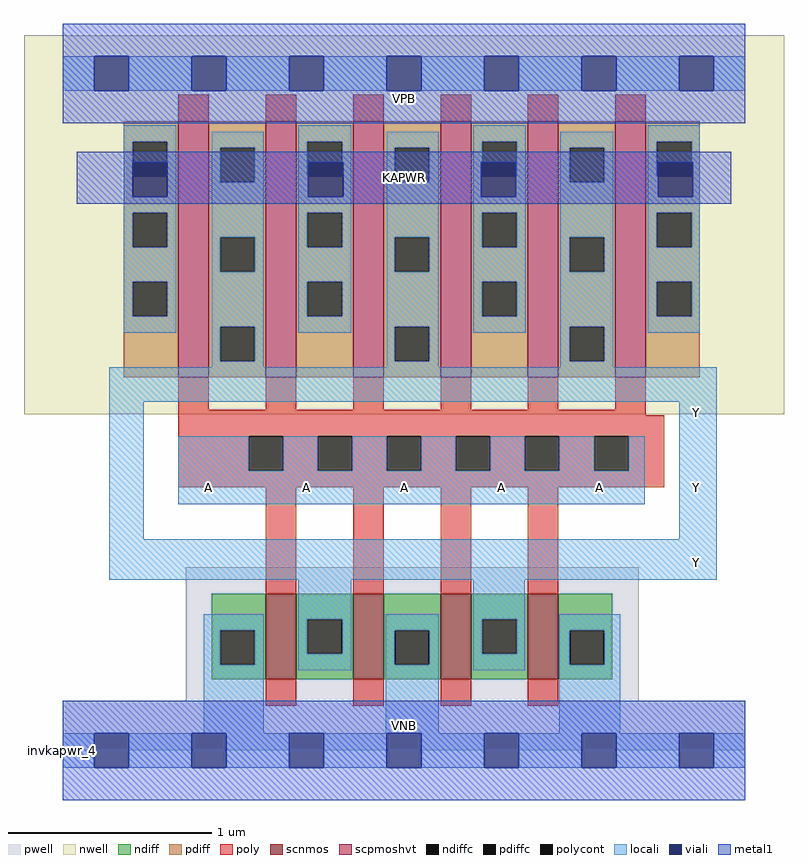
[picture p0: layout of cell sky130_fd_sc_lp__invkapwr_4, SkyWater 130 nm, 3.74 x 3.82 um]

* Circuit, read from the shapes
.subckt sky130_fd_sc_lp__invkapwr_4 A KAPWR VGND VNB VPB VPWR Y
XM1 Y A VGND VNB sky130_fd_pr__nfet_01v8 w=0.42 l=0.15 m=4
XM2 Y A KAPWR VPB sky130_fd_pr__pfet_01v8_hvt w=1.26 l=0.15 m=6
.ends

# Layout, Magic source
magic
tech sky130A
magscale 1 2
<< nwell >>
rect -38 331 710 704
<< pwell >>
rect 121 49 567 180
rect 0 0 672 49
<< scnmos >>
rect 200 70 230 154
rect 286 70 316 154
rect 372 70 402 154
rect 458 70 488 154
<< scpmoshvt >>
rect 114 367 144 619
rect 200 367 230 619
rect 286 367 316 619
rect 372 367 402 619
rect 458 367 488 619
rect 544 367 574 619
<< ndiff >>
rect 147 118 200 154
rect 147 84 155 118
rect 189 84 200 118
rect 147 70 200 84
rect 230 129 286 154
rect 230 95 241 129
rect 275 95 286 129
rect 230 70 286 95
rect 316 118 372 154
rect 316 84 327 118
rect 361 84 372 118
rect 316 70 372 84
rect 402 129 458 154
rect 402 95 413 129
rect 447 95 458 129
rect 402 70 458 95
rect 488 118 541 154
rect 488 84 499 118
rect 533 84 541 118
rect 488 70 541 84
<< pdiff >>
rect 60 599 114 619
rect 60 565 69 599
rect 103 565 114 599
rect 60 529 114 565
rect 60 495 69 529
rect 103 495 114 529
rect 60 461 114 495
rect 60 427 69 461
rect 103 427 114 461
rect 60 367 114 427
rect 144 593 200 619
rect 144 559 155 593
rect 189 559 200 593
rect 144 505 200 559
rect 144 471 155 505
rect 189 471 200 505
rect 144 417 200 471
rect 144 383 155 417
rect 189 383 200 417
rect 144 367 200 383
rect 230 599 286 619
rect 230 565 241 599
rect 275 565 286 599
rect 230 529 286 565
rect 230 495 241 529
rect 275 495 286 529
rect 230 461 286 495
rect 230 427 241 461
rect 275 427 286 461
rect 230 367 286 427
rect 316 593 372 619
rect 316 559 327 593
rect 361 559 372 593
rect 316 505 372 559
rect 316 471 327 505
rect 361 471 372 505
rect 316 417 372 471
rect 316 383 327 417
rect 361 383 372 417
rect 316 367 372 383
rect 402 599 458 619
rect 402 565 413 599
rect 447 565 458 599
rect 402 529 458 565
rect 402 495 413 529
rect 447 495 458 529
rect 402 461 458 495
rect 402 427 413 461
rect 447 427 458 461
rect 402 367 458 427
rect 488 593 544 619
rect 488 559 499 593
rect 533 559 544 593
rect 488 505 544 559
rect 488 471 499 505
rect 533 471 544 505
rect 488 417 544 471
rect 488 383 499 417
rect 533 383 544 417
rect 488 367 544 383
rect 574 599 627 619
rect 574 565 585 599
rect 619 565 627 599
rect 574 529 627 565
rect 574 495 585 529
rect 619 495 627 529
rect 574 461 627 495
rect 574 427 585 461
rect 619 427 627 461
rect 574 367 627 427
<< ndiffc >>
rect 155 84 189 118
rect 241 95 275 129
rect 327 84 361 118
rect 413 95 447 129
rect 499 84 533 118
<< pdiffc >>
rect 69 565 103 599
rect 69 495 103 529
rect 69 427 103 461
rect 155 559 189 593
rect 155 471 189 505
rect 155 383 189 417
rect 241 565 275 599
rect 241 495 275 529
rect 241 427 275 461
rect 327 559 361 593
rect 327 471 361 505
rect 327 383 361 417
rect 413 565 447 599
rect 413 495 447 529
rect 413 427 447 461
rect 499 559 533 593
rect 499 471 533 505
rect 499 383 533 417
rect 585 565 619 599
rect 585 495 619 529
rect 585 427 619 461
<< poly >>
rect 114 619 144 645
rect 200 619 230 645
rect 286 619 316 645
rect 372 619 402 645
rect 458 619 488 645
rect 544 619 574 645
rect 114 335 144 367
rect 200 335 230 367
rect 286 335 316 367
rect 372 335 402 367
rect 458 335 488 367
rect 544 335 574 367
rect 114 330 574 335
rect 114 309 592 330
rect 114 275 183 309
rect 217 275 251 309
rect 285 275 319 309
rect 353 275 387 309
rect 421 275 455 309
rect 489 275 523 309
rect 557 275 592 309
rect 114 259 592 275
rect 200 154 230 259
rect 286 154 316 259
rect 372 154 402 259
rect 458 154 488 259
rect 200 44 230 70
rect 286 44 316 70
rect 372 44 402 70
rect 458 44 488 70
<< polycont >>
rect 183 275 217 309
rect 251 275 285 309
rect 319 275 353 309
rect 387 275 421 309
rect 455 275 489 309
rect 523 275 557 309
<< locali >>
rect 0 649 31 683
rect 65 649 127 683
rect 161 649 223 683
rect 257 649 319 683
rect 353 649 415 683
rect 449 649 511 683
rect 545 649 607 683
rect 641 649 672 683
rect 60 599 112 615
rect 60 545 69 599
rect 103 545 112 599
rect 60 529 112 545
rect 60 495 69 529
rect 103 495 112 529
rect 60 461 112 495
rect 60 427 69 461
rect 103 427 112 461
rect 60 411 112 427
rect 147 593 198 609
rect 147 559 155 593
rect 189 559 198 593
rect 147 505 198 559
rect 147 471 155 505
rect 189 471 198 505
rect 147 417 198 471
rect 147 383 155 417
rect 189 383 198 417
rect 232 599 284 615
rect 232 565 241 599
rect 275 579 284 599
rect 232 545 242 565
rect 276 545 284 579
rect 232 529 284 545
rect 232 495 241 529
rect 275 495 284 529
rect 232 461 284 495
rect 232 427 241 461
rect 275 427 284 461
rect 232 411 284 427
rect 319 593 370 609
rect 319 559 327 593
rect 361 559 370 593
rect 319 505 370 559
rect 319 471 327 505
rect 361 471 370 505
rect 319 417 370 471
rect 147 377 198 383
rect 319 383 327 417
rect 361 383 370 417
rect 404 599 456 615
rect 404 579 413 599
rect 404 545 412 579
rect 447 565 456 599
rect 446 545 456 565
rect 404 529 456 545
rect 404 495 413 529
rect 447 495 456 529
rect 404 461 456 495
rect 404 427 413 461
rect 447 427 456 461
rect 404 411 456 427
rect 490 593 542 609
rect 490 559 499 593
rect 533 559 542 593
rect 490 505 542 559
rect 490 471 499 505
rect 533 471 542 505
rect 490 417 542 471
rect 319 377 370 383
rect 490 383 499 417
rect 533 383 542 417
rect 576 599 627 615
rect 576 565 585 599
rect 619 579 627 599
rect 576 545 586 565
rect 620 545 627 579
rect 576 529 627 545
rect 576 495 585 529
rect 619 495 627 529
rect 576 461 627 495
rect 576 427 585 461
rect 619 427 627 461
rect 576 411 627 427
rect 490 377 542 383
rect 46 343 644 377
rect 46 208 80 343
rect 114 275 183 309
rect 217 275 251 309
rect 285 275 319 309
rect 353 275 387 309
rect 421 275 455 309
rect 489 275 523 309
rect 557 275 573 309
rect 114 242 573 275
rect 607 208 644 343
rect 46 168 644 208
rect 139 118 198 134
rect 139 84 155 118
rect 189 84 198 118
rect 139 17 198 84
rect 232 129 284 168
rect 232 95 241 129
rect 275 95 284 129
rect 232 79 284 95
rect 318 118 370 134
rect 318 84 327 118
rect 361 84 370 118
rect 318 17 370 84
rect 404 129 455 168
rect 404 95 413 129
rect 447 95 455 129
rect 404 79 455 95
rect 489 118 549 134
rect 489 84 499 118
rect 533 84 549 118
rect 489 17 549 84
rect 0 -17 31 17
rect 65 -17 127 17
rect 161 -17 223 17
rect 257 -17 319 17
rect 353 -17 415 17
rect 449 -17 511 17
rect 545 -17 607 17
rect 641 -17 672 17
<< viali >>
rect 31 649 65 683
rect 127 649 161 683
rect 223 649 257 683
rect 319 649 353 683
rect 415 649 449 683
rect 511 649 545 683
rect 607 649 641 683
rect 69 565 103 579
rect 69 545 103 565
rect 242 565 275 579
rect 275 565 276 579
rect 242 545 276 565
rect 412 565 413 579
rect 413 565 446 579
rect 412 545 446 565
rect 586 565 619 579
rect 619 565 620 579
rect 586 545 620 565
rect 31 -17 65 17
rect 127 -17 161 17
rect 223 -17 257 17
rect 319 -17 353 17
rect 415 -17 449 17
rect 511 -17 545 17
rect 607 -17 641 17
<< metal1 >>
rect 0 683 672 715
rect 0 649 31 683
rect 65 649 127 683
rect 161 649 223 683
rect 257 649 319 683
rect 353 649 415 683
rect 449 649 511 683
rect 545 649 607 683
rect 641 649 672 683
rect 0 617 672 649
rect 14 579 658 589
rect 14 545 69 579
rect 103 545 242 579
rect 276 545 412 579
rect 446 545 586 579
rect 620 545 658 579
rect 14 538 658 545
rect 0 17 672 49
rect 0 -17 31 17
rect 65 -17 127 17
rect 161 -17 223 17
rect 257 -17 319 17
rect 353 -17 415 17
rect 449 -17 511 17
rect 545 -17 607 17
rect 641 -17 672 17
rect 0 -49 672 -17
<< labels >>
flabel pwell s 0 0 672 49 0 FreeSans 200 0 0 0 VNB
port 4 nsew ground bidirectional
flabel nwell s 0 617 672 666 0 FreeSans 200 0 0 0 VPB
port 5 nsew power bidirectional
rlabel comment s 0 0 0 0 4 invkapwr_4
flabel metal1 s 0 617 672 666 0 FreeSans 340 0 0 0 VPWR
port 6 nsew power bidirectional
flabel metal1 s 0 0 672 49 0 FreeSans 340 0 0 0 VGND
port 3 nsew ground bidirectional
flabel metal1 s 14 538 658 589 0 FreeSans 200 0 0 0 KAPWR
port 2 nsew power bidirectional
flabel metal1 s 337 564 337 564 0 FreeSans 200 0 0 0 KAPWR
port 2 nsew
flabel locali s 415 242 449 276 0 FreeSans 340 0 0 0 A
port 1 nsew signal input
flabel locali s 511 242 545 276 0 FreeSans 340 0 0 0 A
port 1 nsew signal input
flabel locali s 607 168 641 202 0 FreeSans 340 0 0 0 Y
port 7 nsew signal output
flabel locali s 607 242 641 276 0 FreeSans 340 0 0 0 Y
port 7 nsew signal output
flabel locali s 127 242 161 276 0 FreeSans 340 0 0 0 A
port 1 nsew signal input
flabel locali s 319 242 353 276 0 FreeSans 340 0 0 0 A
port 1 nsew signal input
flabel locali s 223 242 257 276 0 FreeSans 340 0 0 0 A
port 1 nsew signal input
flabel locali s 607 316 641 350 0 FreeSans 340 0 0 0 Y
port 7 nsew signal output
<< properties >>
string LEFsite unit
string LEFclass CORE
string FIXED_BBOX 0 0 672 666
string GDS_FILE $PDKPATH/libs.ref/sky130_fd_sc_lp/gds/sky130_fd_sc_lp.gds
string LEFsymmetry X Y
string GDS_END 3883072
string GDS_START 3875900
<< end >>
